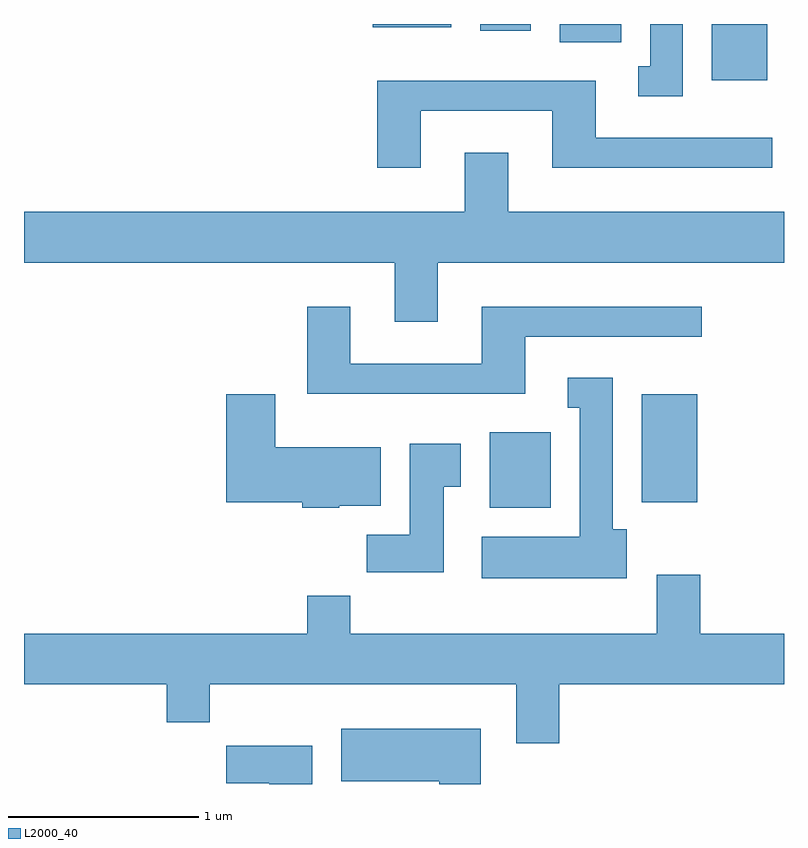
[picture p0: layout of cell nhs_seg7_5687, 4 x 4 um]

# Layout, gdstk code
import gdstk
lib = gdstk.Library(unit=1e-6, precision=1e-09)
def R(c, l, rs):  # rectangles x0, y0, x1, y1
    for r in rs: c.add(gdstk.rectangle(r[:2], r[2:], *l))
def P(c, l, *ps):  # polygons
    for p in ps: c.add(gdstk.Polygon(p, *l))
L2000_40 = (2000, 40)

nhs_seg7_5687 = lib.new_cell('nhs_seg7_5687')
R(nhs_seg7_5687, L2000_40, [(362.061,1699.706,362.384,1700.104), (362.861,1699.736,363.154,1700.304), (363.231,1701.956,363.524,1702.252), (362.431,1702.156,362.754,1702.252), (362.011,1702.216,362.279,1702.252), (361.446,1702.236,361.859,1702.252)])
P(nhs_seg7_5687, L2000_40, [(363.079,1702.252),(362.906,1702.252),(362.906,1702.029),(362.843,1702.029),(362.843,1701.871),(363.079,1701.871)],
  [(361.699,1701.796),(362.391,1701.796),(362.391,1701.496),(363.548,1701.496),(363.548,1701.654),(362.619,1701.654),(362.619,1701.954),(361.471,1701.954),(361.471,1701.496),(361.699,1701.496)],
  [(361.789,1700.996),(363.611,1700.996),(363.611,1701.264),(362.159,1701.264),(362.159,1701.574),(361.931,1701.574),(361.931,1701.264),(359.611,1701.264),(359.611,1700.996),(361.561,1700.996),(361.561,1700.686),(361.789,1700.686)],
  [(362.249,1700.606),(363.178,1700.606),(363.178,1700.764),(362.021,1700.764),(362.021,1700.464),(361.329,1700.464),(361.329,1700.764),(361.101,1700.764),(361.101,1700.306),(362.249,1700.306)],
  [(362.784,1699.594),(362.709,1699.594),(362.709,1700.389),(362.473,1700.389),(362.473,1700.231),(362.536,1700.231),(362.536,1699.554),(362.021,1699.554),(362.021,1699.336),(362.784,1699.336)],
  [(361.27,1699.716),(361.489,1699.716),(361.489,1700.024),(360.934,1700.024),(360.934,1700.304),(360.676,1700.304),(360.676,1699.736),(361.076,1699.736),(361.076,1699.706),(361.27,1699.706)],
  [(361.819,1699.816),(361.909,1699.816),(361.909,1700.044),(361.641,1700.044),(361.641,1699.564),(361.416,1699.564),(361.416,1699.366),(361.819,1699.366)],
  [(362.429,1698.776),(363.611,1698.776),(363.611,1699.044),(363.169,1699.044),(363.169,1699.354),(362.941,1699.354),(362.941,1699.044),(361.329,1699.044),(361.329,1699.244),(361.101,1699.244),(361.101,1699.044),(359.611,1699.044),(359.611,1698.776),(360.361,1698.776),(360.361,1698.576),(360.589,1698.576),(360.589,1698.776),(362.201,1698.776),(362.201,1698.466),(362.429,1698.466)],
  [(362.014,1698.544),(361.281,1698.544),(361.281,1698.266),(361.796,1698.266),(361.796,1698.252),(362.014,1698.252)],
  [(361.129,1698.454),(360.676,1698.454),(360.676,1698.256),(360.901,1698.256),(360.901,1698.252),(361.129,1698.252)])

lib.write_gds('nhs_seg7_5687.gds')
